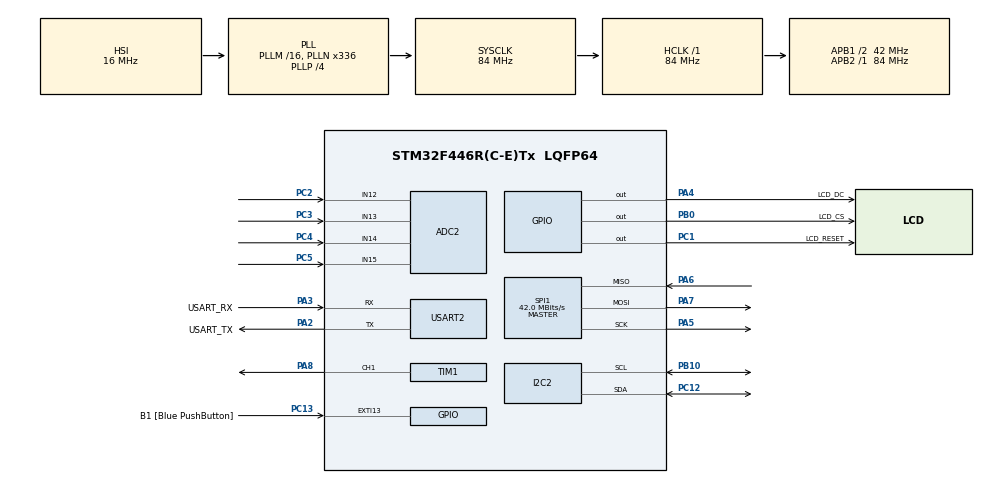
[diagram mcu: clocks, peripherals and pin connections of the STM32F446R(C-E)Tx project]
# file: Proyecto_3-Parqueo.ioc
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ADC2.Channel-0\#ChannelRegularConversion=ADC_CHANNEL_12
ADC2.NbrOfConversionFlag=1
ADC2.Rank-0\#ChannelRegularConversion=1
ADC2.SamplingTime-0\#ChannelRegularConversion=ADC_SAMPLETIME_3CYCLES
Dma.Request0=TIM1_CH1
Dma.TIM1_CH1.0.Direction=DMA_MEMORY_TO_PERIPH
Dma.TIM1_CH1.0.FIFOMode=DMA_FIFOMODE_DISABLE
Dma.TIM1_CH1.0.Instance=DMA2_Stream1
Dma.TIM1_CH1.0.MemDataAlignment=DMA_MDATAALIGN_HALFWORD
Dma.TIM1_CH1.0.MemInc=DMA_MINC_ENABLE
Dma.TIM1_CH1.0.Mode=DMA_NORMAL
Dma.TIM1_CH1.0.PeriphDataAlignment=DMA_PDATAALIGN_HALFWORD
Dma.TIM1_CH1.0.PeriphInc=DMA_PINC_DISABLE
Dma.TIM1_CH1.0.Priority=DMA_PRIORITY_LOW
I2C2.OwnAddress=0x04
Mcu.Family=STM32F4
Mcu.Name=STM32F446R(C-E)Tx
Mcu.Package=LQFP64
NVIC.DMA2_Stream1_IRQn=true\:0\:0\:false\:false\:true\:false\:true\:true
NVIC.I2C2_ER_IRQn=true\:0\:0\:false\:false\:true\:true\:true\:true
NVIC.I2C2_EV_IRQn=true\:0\:0\:false\:false\:true\:true\:true\:true
NVIC.PriorityGroup=NVIC_PRIORITYGROUP_0
NVIC.SPI1_IRQn=true\:0\:0\:false\:false\:true\:true\:true\:true
NVIC.TIM1_CC_IRQn=true\:0\:0\:false\:false\:true\:true\:true\:true
PA13.GPIO_Label=TMS
PA13.Mode=Serial_Wire
PA13.Signal=SYS_JTMS-SWDIO
PA14.GPIO_Label=TCK
PA14.Mode=Serial_Wire
PA14.Signal=SYS_JTCK-SWCLK
PA2.GPIO_Label=USART_TX
PA2.Mode=Asynchronous
PA2.Signal=USART2_TX
PA3.GPIO_Label=USART_RX
PA3.Mode=Asynchronous
PA3.Signal=USART2_RX
PA4.GPIO_Label=LCD_DC
PA4.GPIO_Speed=GPIO_SPEED_FREQ_MEDIUM
PA4.Signal=GPIO_Output
PA5.Mode=Full_Duplex_Master
PA5.Signal=SPI1_SCK
PA6.Mode=Full_Duplex_Master
PA6.Signal=SPI1_MISO
PA7.Mode=Full_Duplex_Master
PA7.Signal=SPI1_MOSI
PA8.Signal=S_TIM1_CH1
PB0.GPIO_Label=LCD_CS
PB0.GPIO_Speed=GPIO_SPEED_FREQ_MEDIUM
PB0.Signal=GPIO_Output
PB10.Mode=I2C
PB10.Signal=I2C2_SCL
PB3.GPIO_Label=SWO
PB3.Signal=SYS_JTDO-SWO
PC1.GPIO_Label=LCD_RESET
PC1.GPIO_Speed=GPIO_SPEED_FREQ_MEDIUM
PC1.Signal=GPIO_Output
PC12.Mode=I2C
PC12.Signal=I2C2_SDA
PC13.GPIO_Label=B1 [Blue PushButton]
PC13.GPIO_ModeDefaultEXTI=GPIO_MODE_IT_FALLING
PC13.Signal=GPXTI13
PC14-OSC32_IN.Mode=LSE-External-Oscillator
PC14-OSC32_IN.Signal=RCC_OSC32_IN
PC15-OSC32_OUT.Mode=LSE-External-Oscillator
PC15-OSC32_OUT.Signal=RCC_OSC32_OUT
PC2.Signal=ADCx_IN12
PC3.Signal=ADCx_IN13
PC4.Signal=ADCx_IN14
PC5.Signal=ADCx_IN15
PH0-OSC_IN.Mode=HSE-External-Oscillator
PH0-OSC_IN.Signal=RCC_OSC_IN
PH1-OSC_OUT.Mode=HSE-External-Oscillator
PH1-OSC_OUT.Signal=RCC_OSC_OUT
ProjectManager.HeapSize=0x200
ProjectManager.StackSize=0x400
ProjectManager.TargetToolchain=STM32CubeIDE
RCC.48MHZClocksFreq_Value=84000000
RCC.AHBFreq_Value=84000000
RCC.APB1CLKDivider=RCC_HCLK_DIV2
RCC.APB1Freq_Value=42000000
RCC.APB1TimFreq_Value=84000000
RCC.APB2Freq_Value=84000000
RCC.APB2TimFreq_Value=84000000
RCC.CortexFreq_Value=84000000
RCC.FLatency-AdvancedSettings=FLASH_LATENCY_2
RCC.HCLKFreq_Value=84000000
RCC.HSE_VALUE=8000000
RCC.HSI_VALUE=16000000
RCC.PLLN=336
RCC.PLLP=RCC_PLLP_DIV4
RCC.SYSCLKFreq_VALUE=84000000
RCC.SYSCLKSource=RCC_SYSCLKSOURCE_PLLCLK
RCC.USBFreq_Value=168000000
RCC.VCOOutputFreq_Value=336000000
SH.ADCx_IN12.0=ADC2_IN12,IN12
SH.ADCx_IN13.0=ADC2_IN13,IN13
SH.ADCx_IN14.0=ADC2_IN14,IN14
SH.ADCx_IN15.0=ADC2_IN15,IN15
SH.S_TIM1_CH1.0=TIM1_CH1,PWM Generation1 CH1
SPI1.CalculateBaudRate=42.0 MBits/s
SPI1.Direction=SPI_DIRECTION_2LINES
SPI1.Mode=SPI_MODE_MASTER
SPI1.VirtualType=VM_MASTER
TIM1.Channel-PWM\ Generation1\ CH1=TIM_CHANNEL_1
TIM1.Period=105-1
USART2.VirtualMode=VM_ASYNC
VP_TIM1_VS_ClockSourceINT.Mode=Internal
board=NUCLEO-F446RE

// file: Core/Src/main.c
/* USER CODE BEGIN Header */
/**
  ******************************************************************************
  * @file           : main.c
  * @brief          : Main program body
  ******************************************************************************
  * @attention
  *
  * Copyright (c) 2025 STMicroelectronics.
  * All rights reserved.
  *
  * This software is licensed under terms that can be found in the LICENSE file
  * in the root directory of this software component.
  * If no LICENSE file comes with this software, it is provided AS-IS.
  *
  ******************************************************************************
  */
/* USER CODE END Header */
#include "main.h"

/* USER CODE BEGIN Includes */
#include <stdio.h>
#include <stdbool.h>
#include <string.h>
#include <stdarg.h>
#include "Neopixel.h"
#include "ili9341.h"
#include "bitmaps.h"
/* USER CODE END Includes */

/* USER CODE BEGIN PD */
#define LDR_THRESHOLD 2000  // Umbral para detectar presencia (ajustar según calibración)
#define NUM_PARKING_SPOTS 4
#define ADC_CHANNELS 4

// Colores Neopixel
#define COLOR_GREEN_R 0
#define COLOR_GREEN_G 255
#define COLOR_GREEN_B 0

#define COLOR_RED_R 255
#define COLOR_RED_G 0
#define COLOR_RED_B 0

#define NEOPIXEL_BRIGHTNESS 50.0f  // Brillo (0.0 - 100.0)
/* USER CODE END PD */

ADC_HandleTypeDef hadc2;

I2C_HandleTypeDef hi2c2;

SPI_HandleTypeDef hspi1;

TIM_HandleTypeDef htim1;
DMA_HandleTypeDef hdma_tim1_ch1;

UART_HandleTypeDef huart2;

/* USER CODE BEGIN PV */

#define I2C_TX_SIZE      9   // byte0 = libres (0..4), bytes1..8 = 4 x uint16 LSB/MSB
#define I2C_RX_CMD_SIZE 10   // CMD (1) + total_libres (1) + 8 estados = 10

uint8_t i2c_tx_buf[I2C_TX_SIZE];
uint8_t i2c_rx_buf[I2C_RX_CMD_SIZE];

volatile bool i2c_tx_busy = false;
volatile bool i2c_rx_ready = false;
volatile uint8_t i2c_rx_len = 0;

/* Datos enviados por el maestro (cuando llegue CMD_DISPLAY_UPDATE) */
uint8_t master_states[8];
uint8_t master_total_libres = 0;

extern const uint8_t pantalla_inicio[];

extern unsigned char carro_blancoSprite[];
extern unsigned char carro_negroSprite[];

extern unsigned char carro_rojoSprite[];
extern unsigned char carro_frenteSprite[];

extern unsigned char display[];

// Variables para el sistema de parqueo
uint32_t adc_values[ADC_CHANNELS] = {0};  // Valores ADC de las 4 LDR
uint8_t parking_status[NUM_PARKING_SPOTS] = {0};  // 0 = libre, 1 = ocupado

// Canales ADC correspondientes a cada LDR
uint32_t adc_channels[ADC_CHANNELS] = {
    ADC_CHANNEL_12,  // PC2
    ADC_CHANNEL_13,  // PC3
    ADC_CHANNEL_14,  // PC4
    ADC_CHANNEL_15   // PC5
};

// Buffer para UART debugging
char uart_buffer[200];

float brilloled = 50.0f;  // Variable para brillo de Neopixels (0.0 - 100.0)

/* USER CODE END PV */

void SystemClock_Config(void);
static void MX_GPIO_Init(void);
static void MX_DMA_Init(void);
static void MX_USART2_UART_Init(void);
static void MX_ADC2_Init(void);
static void MX_SPI1_Init(void);
static void MX_TIM1_Init(void);
static void MX_I2C2_Init(void);
/* USER CODE BEGIN PFP */
void Read_LDR_Sensors(void);
void Update_Parking_Status(void);
void Update_Neopixels(void);
uint32_t Read_ADC_Channel(uint32_t channel);
void Debug_Print_Status(void);
void UART_Print(const char* format, ...);
void Update_LCD_Parking_Display(void);
void Update_LCD_Available_Counter(void);
void Update_LCD_Full_Display(uint8_t *states8, uint8_t total_libres);

void Update_LCD_Parking_Display(void);      // ← NUEVA
void Update_LCD_Available_Counter(void);     // ← NUEVA
/* USER CODE END PFP */

/* USER CODE BEGIN 0 */

/**
  * @brief  Función auxiliar para imprimir por UART con formato
  * @param  format: String con formato printf
  * @retval None
  */
void UART_Print(const char* format, ...)
{
    va_list args;
    va_start(args, format);
    vsnprintf(uart_buffer, sizeof(uart_buffer), format, args);
    va_end(args);
    HAL_UART_Transmit(&huart2, (uint8_t*)uart_buffer, strlen(uart_buffer), 1000);
}

/**
  * @brief  Lee un canal específico del ADC
  * @param  channel: Canal ADC a leer
  * @retval Valor ADC leído
  */
uint32_t Read_ADC_Channel(uint32_t channel)
{
    ADC_ChannelConfTypeDef sConfig = {0};

    sConfig.Channel = channel;
    sConfig.Rank = 1;
    sConfig.SamplingTime = ADC_SAMPLETIME_3CYCLES;

    if (HAL_ADC_ConfigChannel(&hadc2, &sConfig) != HAL_OK)
    {
        Error_Handler();
    }

    HAL_ADC_Start(&hadc2);
    HAL_ADC_PollForConversion(&hadc2, HAL_MAX_DELAY);
    uint32_t adc_value = HAL_ADC_GetValue(&hadc2);
    HAL_ADC_Stop(&hadc2);

    return adc_value;
}

/**
  * @brief  Lee todos los sensores LDR
  * @param  None
  * @retval None
  */
void Read_LDR_Sensors(void)
{
    for(int i = 0; i < ADC_CHANNELS; i++)
    {
        adc_values[i] = Read_ADC_Channel(adc_channels[i]);
    }
}

/**
  * @brief  Actualiza el estado de los espacios de parqueo basado en las LDR
  * @param  None
  * @retval None
  */
void Update_Parking_Status(void)
{
    for(int i = 0; i < NUM_PARKING_SPOTS; i++)
    {
        // Si el valor ADC es menor al umbral, hay un carro (LDR recibe menos luz)
        if(adc_values[i] < LDR_THRESHOLD)
        {
            parking_status[i] = 1;  // Ocupado
        }
        else
        {
            parking_status[i] = 0;  // Libre
        }
    }
}

/**
  * @brief  Actualiza los Neopixels según el estado de cada parqueo
  * @param  None
  * @retval None
  */
void Update_Neopixels(void)
{
    for(int i = 0; i < NUM_PARKING_SPOTS; i++)
    {
        if(parking_status[i] == 0)  // Libre
        {
            setPixelColor(i, COLOR_GREEN_R, COLOR_GREEN_G, COLOR_GREEN_B);
        }
        else  // Ocupado
        {
            setPixelColor(i, COLOR_RED_R, COLOR_RED_G, COLOR_RED_B);
        }
    }
    pixelShow();  // Actualizar los LEDs
}

/**
  * @brief  Actualiza la visualización de los parqueos en la pantalla LCD
  *         Espacios de la parte alta (controlados por esta Nucleo)
  * @param  None
  * @retval None
  */
void Update_LCD_Parking_Display(void)
{
    // Coordenadas X de cada espacio de parqueo (parte alta)
    uint16_t parking_x_positions[NUM_PARKING_SPOTS] = {58, 90, 122, 154};
    uint16_t parking_y = 165;  // Coordenada Y para la parte alta
    uint16_t parking_width = 29;
    uint16_t parking_height = 56;

    // Actualizar cada espacio de parqueo
    for(int i = 0; i < NUM_PARKING_SPOTS; i++)
    {
        if(parking_status[i] == 0)  // Libre - mostrar carretera (index 1)
        {
            // Alternar entre sprites para variedad visual
            if(i % 2 == 0)
            {
                LCD_Sprite(parking_x_positions[i], parking_y, parking_width, parking_height,
                          carro_blancoSprite, 2, 1, 0, 0);
            }
            else
            {
                LCD_Sprite(parking_x_positions[i], parking_y, parking_width, parking_height,
                          carro_negroSprite, 2, 1, 0, 0);
            }
        }
        else  // Ocupado - mostrar carro (index 0)
        {
            // Alternar entre sprites para variedad visual
            if(i % 2 == 0)
            {
                LCD_Sprite(parking_x_positions[i], parking_y, parking_width, parking_height,
                          carro_blancoSprite, 2, 0, 0, 0);
            }
            else
            {
                LCD_Sprite(parking_x_positions[i], parking_y, parking_width, parking_height,
                          carro_negroSprite, 2, 0, 0, 0);
            }
        }
    }
}

/**
  * @brief  Actualiza el display de 7 segmentos con el número de espacios disponibles
  * @param  None
  * @retval None
  */
void Update_LCD_Available_Counter(void)
{
    // Contar espacios disponibles (libres) de esta Nucleo
    int available_count = 0;
    for(int i = 0; i < NUM_PARKING_SPOTS; i++)
    {
        if(parking_status[i] == 0)  // Libre
        {
            available_count++;
        }
    }

    // Coordenadas del display de 7 segmentos
    uint16_t display_x = 258;
    uint16_t display_y = 83;
    uint16_t display_width = 44;
    uint16_t display_height = 75;

    // Actualizar display con el número de espacios disponibles
    // El sprite tiene 9 columnas (dígitos 0-8)
    LCD_Sprite(display_x, display_y, display_width, display_height,
              display, 9, available_count, 0, 0);
}

/**
  * @brief  Imprime el estado del sistema por UART para debugging
  * @param  None
  * @retval None
  */
void Debug_Print_Status(void)
{
    // Título
    UART_Print("\r\n===== ESTADO DEL PARQUEO =====\r\n");

    // Valores ADC de cada sensor
    UART_Print("Valores ADC (Umbral=%d):\r\n", LDR_THRESHOLD);

    for(int i = 0; i < ADC_CHANNELS; i++)
    {
        UART_Print("  LDR[%d] (PC%d): %4lu %s\r\n",
                i, i+2, adc_values[i],
                (adc_values[i] < LDR_THRESHOLD) ? "[OCUPADO]" : "[LIBRE]");
    }

    // Estado de cada espacio
    UART_Print("\nEstado de Parqueos:\r\n");

    for(int i = 0; i < NUM_PARKING_SPOTS; i++)
    {
        UART_Print("  Espacio %d: %s (LED: %s)\r\n",
                i+1,
                parking_status[i] ? "OCUPADO" : "LIBRE",
                parking_status[i] ? "ROJO" : "VERDE");
    }

    // Conteo total
    int ocupados = 0;
    for(int i = 0; i < NUM_PARKING_SPOTS; i++)
    {
        if(parking_status[i] == 1) ocupados++;
    }

    UART_Print("\nResumen: %d/%d ocupados, %d/%d libres\r\n",
            ocupados, NUM_PARKING_SPOTS,
            NUM_PARKING_SPOTS - ocupados, NUM_PARKING_SPOTS);

    UART_Print("===============================\r\n\n");
}

/* USER CODE END 0 */

int main(void)
{

  /* MCU Configuration--------------------------------------------------------*/

  /* Reset of all peripherals, Initializes the Flash interface and the Systick. */
  HAL_Init();

  /* Configure the system clock */
  SystemClock_Config();

  /* Initialize all configured peripherals */
  MX_GPIO_Init();
  MX_DMA_Init();
  MX_USART2_UART_Init();
  MX_ADC2_Init();
  MX_SPI1_Init();
  MX_TIM1_Init();
  MX_I2C2_Init();
  /* USER CODE BEGIN 2 */

  // Mensaje de inicio por UART primero
  HAL_Delay(100);  // Pequeño delay para estabilizar
  HAL_UART_Transmit(&huart2, (uint8_t*)"\r\n\n*** SISTEMA INICIADO ***\r\n", 29, 1000);

  // Inicializar Neopixels
  UART_Print("Iniciando PWM para Neopixels...\r\n");
  HAL_TIM_PWM_Start_DMA(&htim1, TIM_CHANNEL_1, (uint32_t*)&htim1.Instance->CCR1, 1);

  UART_Print("Configurando Neopixels...\r\n");
  setBrightness(NEOPIXEL_BRIGHTNESS);
  pixelClear();  // Apagar todos los LEDs al inicio
  pixelShow();   // Enviar comando de actualización
  HAL_Delay(10);

  // Test de Neopixels - todos en rojo por 1 segundo
  UART_Print("Test Neopixels - ROJO...\r\n");
  for(int i = 0; i < NUM_PARKING_SPOTS; i++)
  {
      setPixelColor(i, 255, 0, 0);  // Rojo
  }
  pixelShow();
  HAL_Delay(1000);

  // Test de Neopixels - todos en verde por 1 segundo
  UART_Print("Test Neopixels - VERDE...\r\n");
  for(int i = 0; i < NUM_PARKING_SPOTS; i++)
  {
      setPixelColor(i, 0, 255, 0);  // Verde
  }
  pixelShow();
  HAL_Delay(1000);

  // Apagar todos
  UART_Print("Apagando Neopixels...\r\n");
  pixelClear();
  pixelShow();
  HAL_Delay(500);

  // Inicializar LCD
    UART_Print("[3/4] Iniciando pantalla LCD ILI9341...\r\n");
    LCD_Init();
    LCD_Clear(0x00);

    // Cargar pantalla inicial
    LCD_Bitmap(0, 0, 320, 240, pantalla_inicio);

    // Espacios en parte baja (estos permanecen estáticos por ahora)
    LCD_Sprite(58, 165, 29, 56, carro_blancoSprite, 2, 1, 0, 0);
    LCD_Sprite(90, 166, 29, 56, carro_negroSprite, 2, 1, 0, 0);
    LCD_Sprite(122, 165, 29, 56, carro_blancoSprite, 2, 1, 0, 0);
    LCD_Sprite(154, 166, 29, 56, carro_negroSprite, 2, 1, 0, 0);

    // Espacios en parte alta (controlados por esta Nucleo - inicialmente todos libres)
    UART_Print("Configurando espacios de parqueo en pantalla...\r\n");
    LCD_Sprite(58, 19, 29, 56, carro_frenteSprite, 2, 1, 0, 0);  // Espacio 1 - Libre
    LCD_Sprite(90, 19, 29, 56, carro_rojoSprite, 2, 1, 1, 0);    // Espacio 2 - Libre
    LCD_Sprite(122, 19, 29, 56, carro_frenteSprite, 2, 1, 0, 0); // Espacio 3 - Libre
    LCD_Sprite(154, 19, 29, 56, carro_rojoSprite, 2, 1, 0, 0);   // Espacio 4 - Libre

    // Display de 7 segmentos - inicialmente mostrando 4 (todos disponibles)
    UART_Print("Configurando display de espacios disponibles...\r\n");
    LCD_Sprite(258, 83, 44, 75, display, 9, 4, 0, 0);  // Mostrar "4"

    UART_Print("    LCD inicializado correctamente\r\n");

  // Mensaje inicial por UART - Prueba simple
  HAL_UART_Transmit(&huart2, (uint8_t*)"\r\n\n*** SISTEMA INICIADO ***\r\n", 29, 1000);

  UART_Print("Umbral LDR: %d\r\n", LDR_THRESHOLD);
  UART_Print("Brillo Neopixels: %d/255\r\n\n", NEOPIXEL_BRIGHTNESS);

  /* ============ Inicializar I2C SLAVE ============ */
  UART_Print("[I2C SLAVE] Inicializando como esclavo (0x%02X)...\r\n", hi2c2.Init.OwnAddress1);

  /* ⭐ HABILITAR MODO LISTEN - CRÍTICO */
  if (HAL_I2C_EnableListen_IT(&hi2c2) != HAL_OK) {
      UART_Print("[I2C SLAVE] ERROR: No se pudo habilitar Listen mode\r\n");
      Error_Handler();
  } else {
      UART_Print("[I2C SLAVE] Modo Listen habilitado correctamente\r\n");
  }

  /* Preparar primer paquete TX (inicialmente todo libre) */
  uint8_t libres_inicial = 4;  // Todos libres al inicio
  i2c_tx_buf[0] = libres_inicial;
  for (int i = 0; i < 4; i++) {
      i2c_tx_buf[1 + i*2] = 0xFF;      // LDR alto (libre) LSB
      i2c_tx_buf[1 + i*2 + 1] = 0x0F;  // MSB
  }

  UART_Print("[I2C SLAVE] Buffer inicial preparado\r\n\r\n");

  /* Preparar primer paquete TX para que el maestro pueda leer (inicial) */
  /* Calcular libres locales (convención local: parking_status 0=libre,1=ocupado) */
  uint8_t libres_local = 0;
  for (int i = 0; i < NUM_PARKING_SPOTS; i++) {
      if (parking_status[i] == 0) libres_local++;
  }
  i2c_tx_buf[0] = libres_local;
  /* Escribir LDRs raw (uint16 little-endian) */
  for (int i = 0; i < NUM_PARKING_SPOTS; i++) {
      uint16_t v = (uint16_t)adc_values[i];
      i2c_tx_buf[1 + i*2]     = (uint8_t)(v & 0xFF);       // LSB
      i2c_tx_buf[1 + i*2 + 1] = (uint8_t)((v >> 8) & 0xFF); // MSB
  }

  if (HAL_I2C_Slave_Transmit_IT(&hi2c2, i2c_tx_buf, I2C_TX_SIZE) != HAL_OK) {
      UART_Print("[I2C SLAVE] Error iniciando Slave Transmit IT\r\n");
  } else {
      i2c_tx_busy = true;
  }

  /* USER CODE END 2 */

  /* Infinite loop */
  /* USER CODE BEGIN WHILE */
   uint32_t last_debug_time = 0;
   uint8_t prev_parking_status[NUM_PARKING_SPOTS] = {0};  // Para detectar cambios

   // Inicializar estado anterior
   for(int i = 0; i < NUM_PARKING_SPOTS; i++)
   {
       prev_parking_status[i] = parking_status[i];
   }

   while (1)
   {
    /* USER CODE END WHILE */

    /* USER CODE BEGIN 3 */

     // Leer sensores LDR
     Read_LDR_Sensors();

     // Actualizar estado de los parqueos
     Update_Parking_Status();

     /* ===== Preparar paquete I2C TX (que el maestro leerá) ===== */
     {
         uint8_t libres_local = 0;
         for (int i = 0; i < NUM_PARKING_SPOTS; i++) {
             // ⭐ INVERTIR: parking_status 0=libre, 1=ocupado
             // Pero enviamos en formato del maestro: 1=libre, 0=ocupado
             if (parking_status[i] == 0) libres_local++;  // 0 = libre
         }

         i2c_tx_buf[0] = libres_local;

         for (int i = 0; i < NUM_PARKING_SPOTS; i++) {
             uint16_t v = (uint16_t)adc_values[i];
             i2c_tx_buf[1 + i*2]     = (uint8_t)(v & 0xFF);       // LSB
             i2c_tx_buf[1 + i*2 + 1] = (uint8_t)((v >> 8) & 0xFF); // MSB
         }

         /* Re-arm transmit IT solo si no hay una transmisión en curso */
         if (!i2c_tx_busy) {
             if (HAL_I2C_Slave_Transmit_IT(&hi2c2, i2c_tx_buf, I2C_TX_SIZE) == HAL_OK) {
                 i2c_tx_busy = true;
             } else {
                 UART_Print("[I2C SLAVE] Falló rearm Transmit_IT\r\n");
             }
         }
     }

     // Detectar si hubo cambios en el estado
     uint8_t status_changed = 0;
     for(int i = 0; i < NUM_PARKING_SPOTS; i++)
     {
         if(prev_parking_status[i] != parking_status[i])
         {
             status_changed = 1;
             prev_parking_status[i] = parking_status[i];
         }
     }

     // Si hubo cambios, actualizar la pantalla LCD
     if(status_changed)
     {
         UART_Print("[LCD] Actualizando visualización...\r\n");
         Update_LCD_Parking_Display();
         Update_LCD_Available_Counter();
     }

     // Actualizar Neopixels (siempre, son muy rápidos)
     Update_Neopixels();

     // Imprimir debug cada 2 segundos
     if((HAL_GetTick() - last_debug_time) >= 2000)
     {
         Debug_Print_Status();
         last_debug_time = HAL_GetTick();
     }

     /* ===== Procesar comandos recibidos desde el maestro (fuera del ISR) ===== */
     if (i2c_rx_ready) {
         i2c_rx_ready = false;

         // CMD_DISPLAY_UPDATE (0xA1)
         if (i2c_rx_buf[0] == 0xA1) {
             master_total_libres = i2c_rx_buf[1];
             for (int i = 0; i < 8; i++) {
                 master_states[i] = i2c_rx_buf[2 + i]; // convención del maestro: 1=LIBRE, 0=OCUPADO
             }
             UART_Print("[I2C SLAVE] CMD_DISPLAY_UPDATE recibido. Total libres: %d\r\n", master_total_libres);

             // Actualizar la pantalla LCD para mostrar los 8 espacios tal como mandó el maestro
             Update_LCD_Full_Display(master_states, master_total_libres);
         } else {
             UART_Print("[I2C SLAVE] Comando desconocido 0x%02X\r\n", i2c_rx_buf[0]);
         }
     }

     // Delay entre lecturas
     HAL_Delay(100);

   }
  /* USER CODE END 3 */
}

void SystemClock_Config(void)
{
  RCC_OscInitTypeDef RCC_OscInitStruct = {0};
  RCC_ClkInitTypeDef RCC_ClkInitStruct = {0};

  /** Configure the main internal regulator output voltage
  */
  __HAL_RCC_PWR_CLK_ENABLE();
  __HAL_PWR_VOLTAGESCALING_CONFIG(PWR_REGULATOR_VOLTAGE_SCALE3);

  /** Initializes the RCC Oscillators according to the specified parameters
  * in the RCC_OscInitTypeDef structure.
  */
  RCC_OscInitStruct.OscillatorType = RCC_OSCILLATORTYPE_HSI;
  RCC_OscInitStruct.HSIState = RCC_HSI_ON;
  RCC_OscInitStruct.HSICalibrationValue = RCC_HSICALIBRATION_DEFAULT;
  RCC_OscInitStruct.PLL.PLLState = RCC_PLL_ON;
  RCC_OscInitStruct.PLL.PLLSource = RCC_PLLSOURCE_HSI;
  RCC_OscInitStruct.PLL.PLLM = 16;
  RCC_OscInitStruct.PLL.PLLN = 336;
  RCC_OscInitStruct.PLL.PLLP = RCC_PLLP_DIV4;
  RCC_OscInitStruct.PLL.PLLQ = 2;
  RCC_OscInitStruct.PLL.PLLR = 2;
  if (HAL_RCC_OscConfig(&RCC_OscInitStruct) != HAL_OK)
  {
    Error_Handler();
  }

  /** Initializes the CPU, AHB and APB buses clocks
  */
  RCC_ClkInitStruct.ClockType = RCC_CLOCKTYPE_HCLK|RCC_CLOCKTYPE_SYSCLK
                              |RCC_CLOCKTYPE_PCLK1|RCC_CLOCKTYPE_PCLK2;
  RCC_ClkInitStruct.SYSCLKSource = RCC_SYSCLKSOURCE_PLLCLK;
  RCC_ClkInitStruct.AHBCLKDivider = RCC_SYSCLK_DIV1;
  RCC_ClkInitStruct.APB1CLKDivider = RCC_HCLK_DIV2;
  RCC_ClkInitStruct.APB2CLKDivider = RCC_HCLK_DIV1;

  if (HAL_RCC_ClockConfig(&RCC_ClkInitStruct, FLASH_LATENCY_2) != HAL_OK)
  {
    Error_Handler();
  }
}

static void MX_ADC2_Init(void)
{

  ADC_ChannelConfTypeDef sConfig = {0};

  /** Configure the global features of the ADC (Clock, Resolution, Data Alignment and number of conversion)
  */
  hadc2.Instance = ADC2;
  hadc2.Init.ClockPrescaler = ADC_CLOCK_SYNC_PCLK_DIV4;
  hadc2.Init.Resolution = ADC_RESOLUTION_12B;
  hadc2.Init.ScanConvMode = DISABLE;
  hadc2.Init.ContinuousConvMode = DISABLE;
  hadc2.Init.DiscontinuousConvMode = DISABLE;
  hadc2.Init.ExternalTrigConvEdge = ADC_EXTERNALTRIGCONVEDGE_NONE;
  hadc2.Init.ExternalTrigConv = ADC_SOFTWARE_START;
  hadc2.Init.DataAlign = ADC_DATAALIGN_RIGHT;
  hadc2.Init.NbrOfConversion = 1;
  hadc2.Init.DMAContinuousRequests = DISABLE;
  hadc2.Init.EOCSelection = ADC_EOC_SINGLE_CONV;
  if (HAL_ADC_Init(&hadc2) != HAL_OK)
  {
    Error_Handler();
  }

  /** Configure for the selected ADC regular channel its corresponding rank in the sequencer and its sample time.
  */
  sConfig.Channel = ADC_CHANNEL_12;
  sConfig.Rank = 1;
  sConfig.SamplingTime = ADC_SAMPLETIME_3CYCLES;
  if (HAL_ADC_ConfigChannel(&hadc2, &sConfig) != HAL_OK)
  {
    Error_Handler();
  }

}

static void MX_I2C2_Init(void)
{

  hi2c2.Instance = I2C2;
  hi2c2.Init.ClockSpeed = 100000;
  hi2c2.Init.DutyCycle = I2C_DUTYCYCLE_2;
  hi2c2.Init.OwnAddress1 = 0x04;
  hi2c2.Init.AddressingMode = I2C_ADDRESSINGMODE_7BIT;
  hi2c2.Init.DualAddressMode = I2C_DUALADDRESS_DISABLE;
  hi2c2.Init.OwnAddress2 = 0;
  hi2c2.Init.GeneralCallMode = I2C_GENERALCALL_DISABLE;
  hi2c2.Init.NoStretchMode = I2C_NOSTRETCH_DISABLE;
  if (HAL_I2C_Init(&hi2c2) != HAL_OK)
  {
    Error_Handler();
  }

}

static void MX_SPI1_Init(void)
{

  /* SPI1 parameter configuration*/
  hspi1.Instance = SPI1;
  hspi1.Init.Mode = SPI_MODE_MASTER;
  hspi1.Init.Direction = SPI_DIRECTION_2LINES;
  hspi1.Init.DataSize = SPI_DATASIZE_8BIT;
  hspi1.Init.CLKPolarity = SPI_POLARITY_LOW;
  hspi1.Init.CLKPhase = SPI_PHASE_1EDGE;
  hspi1.Init.NSS = SPI_NSS_SOFT;
  hspi1.Init.BaudRatePrescaler = SPI_BAUDRATEPRESCALER_2;
  hspi1.Init.FirstBit = SPI_FIRSTBIT_MSB;
  hspi1.Init.TIMode = SPI_TIMODE_DISABLE;
  hspi1.Init.CRCCalculation = SPI_CRCCALCULATION_DISABLE;
  hspi1.Init.CRCPolynomial = 10;
  if (HAL_SPI_Init(&hspi1) != HAL_OK)
  {
    Error_Handler();
  }

}

static void MX_TIM1_Init(void)
{

  TIM_ClockConfigTypeDef sClockSourceConfig = {0};
  TIM_MasterConfigTypeDef sMasterConfig = {0};
  TIM_OC_InitTypeDef sConfigOC = {0};
  TIM_BreakDeadTimeConfigTypeDef sBreakDeadTimeConfig = {0};

  htim1.Instance = TIM1;
  htim1.Init.Prescaler = 0;
  htim1.Init.CounterMode = TIM_COUNTERMODE_UP;
  htim1.Init.Period = 105-1;
  htim1.Init.ClockDivision = TIM_CLOCKDIVISION_DIV1;
  htim1.Init.RepetitionCounter = 0;
  htim1.Init.AutoReloadPreload = TIM_AUTORELOAD_PRELOAD_DISABLE;
  if (HAL_TIM_Base_Init(&htim1) != HAL_OK)
  {
    Error_Handler();
  }
  sClockSourceConfig.ClockSource = TIM_CLOCKSOURCE_INTERNAL;
  if (HAL_TIM_ConfigClockSource(&htim1, &sClockSourceConfig) != HAL_OK)
  {
    Error_Handler();
  }
  if (HAL_TIM_PWM_Init(&htim1) != HAL_OK)
  {
    Error_Handler();
  }
  sMasterConfig.MasterOutputTrigger = TIM_TRGO_RESET;
  sMasterConfig.MasterSlaveMode = TIM_MASTERSLAVEMODE_DISABLE;
  if (HAL_TIMEx_MasterConfigSynchronization(&htim1, &sMasterConfig) != HAL_OK)
  {
    Error_Handler();
  }
  sConfigOC.OCMode = TIM_OCMODE_PWM1;
  sConfigOC.Pulse = 0;
  sConfigOC.OCPolarity = TIM_OCPOLARITY_HIGH;
  sConfigOC.OCNPolarity = TIM_OCNPOLARITY_HIGH;
  sConfigOC.OCFastMode = TIM_OCFAST_DISABLE;
  sConfigOC.OCIdleState = TIM_OCIDLESTATE_RESET;
  sConfigOC.OCNIdleState = TIM_OCNIDLESTATE_RESET;
  if (HAL_TIM_PWM_ConfigChannel(&htim1, &sConfigOC, TIM_CHANNEL_1) != HAL_OK)
  {
    Error_Handler();
  }
  sBreakDeadTimeConfig.OffStateRunMode = TIM_OSSR_DISABLE;
  sBreakDeadTimeConfig.OffStateIDLEMode = TIM_OSSI_DISABLE;
  sBreakDeadTimeConfig.LockLevel = TIM_LOCKLEVEL_OFF;
  sBreakDeadTimeConfig.DeadTime = 0;
  sBreakDeadTimeConfig.BreakState = TIM_BREAK_DISABLE;
  sBreakDeadTimeConfig.BreakPolarity = TIM_BREAKPOLARITY_HIGH;
  sBreakDeadTimeConfig.AutomaticOutput = TIM_AUTOMATICOUTPUT_DISABLE;
  if (HAL_TIMEx_ConfigBreakDeadTime(&htim1, &sBreakDeadTimeConfig) != HAL_OK)
  {
    Error_Handler();
  }
  HAL_TIM_MspPostInit(&htim1);

}

static void MX_USART2_UART_Init(void)
{

  huart2.Instance = USART2;
  huart2.Init.BaudRate = 115200;
  huart2.Init.WordLength = UART_WORDLENGTH_8B;
  huart2.Init.StopBits = UART_STOPBITS_1;
  huart2.Init.Parity = UART_PARITY_NONE;
  huart2.Init.Mode = UART_MODE_TX_RX;
  huart2.Init.HwFlowCtl = UART_HWCONTROL_NONE;
  huart2.Init.OverSampling = UART_OVERSAMPLING_16;
  if (HAL_UART_Init(&huart2) != HAL_OK)
  {
    Error_Handler();
  }

}

static void MX_DMA_Init(void)
{

  /* DMA controller clock enable */
  __HAL_RCC_DMA2_CLK_ENABLE();

  /* DMA interrupt init */
  /* DMA2_Stream1_IRQn interrupt configuration */
  HAL_NVIC_SetPriority(DMA2_Stream1_IRQn, 0, 0);
  HAL_NVIC_EnableIRQ(DMA2_Stream1_IRQn);

}

static void MX_GPIO_Init(void)
{
  GPIO_InitTypeDef GPIO_InitStruct = {0};

  /* GPIO Ports Clock Enable */
  __HAL_RCC_GPIOC_CLK_ENABLE();
  __HAL_RCC_GPIOH_CLK_ENABLE();
  __HAL_RCC_GPIOA_CLK_ENABLE();
  __HAL_RCC_GPIOB_CLK_ENABLE();

  /*Configure GPIO pin Output Level */
  HAL_GPIO_WritePin(LCD_RESET_GPIO_Port, LCD_RESET_Pin, GPIO_PIN_RESET);

  /*Configure GPIO pin Output Level */
  HAL_GPIO_WritePin(LCD_DC_GPIO_Port, LCD_DC_Pin, GPIO_PIN_RESET);

  /*Configure GPIO pin Output Level */
  HAL_GPIO_WritePin(LCD_CS_GPIO_Port, LCD_CS_Pin, GPIO_PIN_RESET);

  /*Configure GPIO pin : B1_Pin */
  GPIO_InitStruct.Pin = B1_Pin;
  GPIO_InitStruct.Mode = GPIO_MODE_IT_FALLING;
  GPIO_InitStruct.Pull = GPIO_NOPULL;
  HAL_GPIO_Init(B1_GPIO_Port, &GPIO_InitStruct);

  /*Configure GPIO pin : LCD_RESET_Pin */
  GPIO_InitStruct.Pin = LCD_RESET_Pin;
  GPIO_InitStruct.Mode = GPIO_MODE_OUTPUT_PP;
  GPIO_InitStruct.Pull = GPIO_NOPULL;
  GPIO_InitStruct.Speed = GPIO_SPEED_FREQ_MEDIUM;
  HAL_GPIO_Init(LCD_RESET_GPIO_Port, &GPIO_InitStruct);

  /*Configure GPIO pin : LCD_DC_Pin */
  GPIO_InitStruct.Pin = LCD_DC_Pin;
  GPIO_InitStruct.Mode = GPIO_MODE_OUTPUT_PP;
  GPIO_InitStruct.Pull = GPIO_NOPULL;
  GPIO_InitStruct.Speed = GPIO_SPEED_FREQ_MEDIUM;
  HAL_GPIO_Init(LCD_DC_GPIO_Port, &GPIO_InitStruct);

  /*Configure GPIO pin : LCD_CS_Pin */
  GPIO_InitStruct.Pin = LCD_CS_Pin;
  GPIO_InitStruct.Mode = GPIO_MODE_OUTPUT_PP;
  GPIO_InitStruct.Pull = GPIO_NOPULL;
  GPIO_InitStruct.Speed = GPIO_SPEED_FREQ_MEDIUM;
  HAL_GPIO_Init(LCD_CS_GPIO_Port, &GPIO_InitStruct);

}

/* USER CODE BEGIN 4 */

/**
 * @brief Actualiza TODA la pantalla LCD con los 8 espacios
 * @param states8: Array de 8 bytes (convención maestro: 1=LIBRE, 0=OCUPADO)
 * @param total_libres: Total de espacios libres (0-8)
 */
void Update_LCD_Full_Display(uint8_t *states8, uint8_t total_libres) {
    uint16_t x_positions[4] = {58, 90, 122, 154};
    uint16_t top_y = 19;      // Parte alta (espacios 1-4 del maestro)
    uint16_t bottom_y = 165;  // Parte baja (espacios 5-8 de este esclavo)
    uint16_t w = 29, h = 56;

    UART_Print("[LCD UPDATE] Total: %d | Estados: [%d%d%d%d|%d%d%d%d]\r\n",
               total_libres, states8[0], states8[1], states8[2], states8[3],
               states8[4], states8[5], states8[6], states8[7]);

    // ===== PARTE ALTA: Espacios 1-4 (del maestro) =====
    for (int i = 0; i < 4; i++) {
        uint8_t estado = states8[i];  // 1=LIBRE, 0=OCUPADO

        if (estado == 1) {  // Libre
            if (i % 2 == 0)
                LCD_Sprite(x_positions[i], top_y, w, h, carro_frenteSprite, 2, 1, 0, 0);
            else
                LCD_Sprite(x_positions[i], top_y, w, h, carro_rojoSprite, 2, 1, 0, 0);
        } else {  // Ocupado
            if (i % 2 == 0)
                LCD_Sprite(x_positions[i], top_y, w, h, carro_frenteSprite, 2, 0, 0, 0);
            else
                LCD_Sprite(x_positions[i], top_y, w, h, carro_rojoSprite, 2, 0, 0, 0);
        }
    }

    // ===== PARTE BAJA: Espacios 5-8 (de este esclavo) =====
    for (int j = 0; j < 4; j++) {
        uint8_t estado = states8[4 + j];  // 1=LIBRE, 0=OCUPADO

        if (estado == 1) {  // Libre
            if (j % 2 == 0)
                LCD_Sprite(x_positions[j], bottom_y, w, h, carro_blancoSprite, 2, 1, 0, 0);
            else
                LCD_Sprite(x_positions[j], bottom_y + 1, w, h, carro_negroSprite, 2, 1, 0, 0);
        } else {  // Ocupado
            if (j % 2 == 0)
                LCD_Sprite(x_positions[j], bottom_y, w, h, carro_blancoSprite, 2, 0, 0, 0);
            else
                LCD_Sprite(x_positions[j], bottom_y + 1, w, h, carro_negroSprite, 2, 0, 0, 0);
        }
    }

    // ===== ACTUALIZAR DISPLAY 7 SEGMENTOS =====
    if (total_libres > 8) total_libres = 8;
    LCD_Sprite(258, 83, 44, 75, display, 9, total_libres, 0, 0);

    UART_Print("[LCD UPDATE] Pantalla actualizada correctamente\r\n");
}
//* ===== I2C Callbacks Corregidos ===== */

/* Callback cuando el maestro direcciona al esclavo */
void HAL_I2C_AddrCallback(I2C_HandleTypeDef *hi2c, uint8_t TransferDirection, uint16_t AddrMatchCode)
{
    if (hi2c->Instance != I2C2) return;

    if (TransferDirection == I2C_DIRECTION_RECEIVE) {
        // Maestro quiere LEER (Slave TX) - Enviar 9 bytes
        if (HAL_I2C_Slave_Seq_Transmit_IT(&hi2c2, i2c_tx_buf, I2C_TX_SIZE,
                                           I2C_FIRST_AND_LAST_FRAME) == HAL_OK) {
            i2c_tx_busy = true;
        }
    }
    else if (TransferDirection == I2C_DIRECTION_TRANSMIT) {
        // Maestro quiere ESCRIBIR (Slave RX) - Recibir 10 bytes
        HAL_I2C_Slave_Seq_Receive_IT(&hi2c2, i2c_rx_buf, I2C_RX_CMD_SIZE,
                                       I2C_FIRST_AND_LAST_FRAME);
    }
}

/* Callback: Transmisión completada (maestro leyó los 9 bytes) */
void HAL_I2C_SlaveTxCpltCallback(I2C_HandleTypeDef *hi2c) {
    if (hi2c->Instance != I2C2) return;
    i2c_tx_busy = false;
    // UART_Print("[I2C] TX Complete\r\n");  // Debug opcional
}

/* Callback: Recepción completada (maestro escribió comando) */
void HAL_I2C_SlaveRxCpltCallback(I2C_HandleTypeDef *hi2c) {
    if (hi2c->Instance != I2C2) return;

    i2c_rx_ready = true;
    i2c_rx_len = I2C_RX_CMD_SIZE;

    // Debug: mostrar comando recibido
    UART_Print("[I2C RX] Comando: 0x%02X, Total: %d\r\n", i2c_rx_buf[0], i2c_rx_buf[1]);
}

/* Callback: Comunicación completada, re-habilitar Listen */
void HAL_I2C_ListenCpltCallback(I2C_HandleTypeDef *hi2c) {
    if (hi2c->Instance != I2C2) return;
    HAL_I2C_EnableListen_IT(&hi2c2);
}

/* Callback de error */
void HAL_I2C_ErrorCallback(I2C_HandleTypeDef *hi2c) {
    if (hi2c->Instance != I2C2) return;

    UART_Print("[I2C ERROR] Code: 0x%08lX\r\n", hi2c->ErrorCode);

    // Limpiar flags y re-habilitar
    i2c_tx_busy = false;
    HAL_Delay(5);
    HAL_I2C_EnableListen_IT(&hi2c2);
}
/* USER CODE END 4 */

void Error_Handler(void)
{
  __disable_irq();
  while (1)
  {
  }
}
